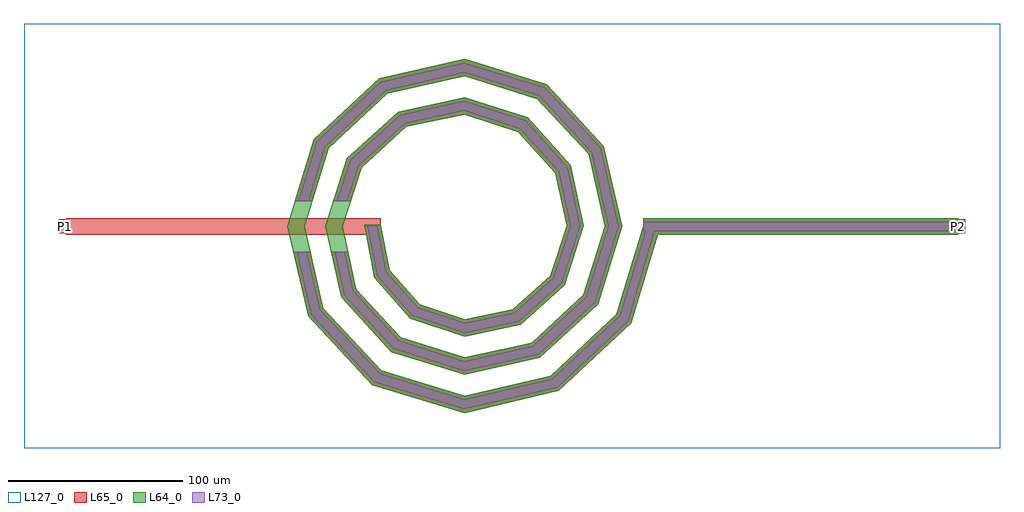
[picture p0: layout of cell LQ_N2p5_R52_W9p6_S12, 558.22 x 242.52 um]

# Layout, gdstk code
import gdstk
lib = gdstk.Library(unit=1e-6, precision=1e-09)
def R(c, l, rs):  # rectangles x0, y0, x1, y1
    for r in rs: c.add(gdstk.rectangle(r[:2], r[2:], *l))
def P(c, l, *ps):  # polygons
    for p in ps: c.add(gdstk.Polygon(p, *l))
L64_0 = (64, 0)
L65_0 = (65, 0)
L73_0 = (73, 0)
L127_0 = (127, 0)

lq_n2p5_r52_w9p6_s12 = lib.new_cell('LQ_N2p5_R52_W9p6_S12')
R(lq_n2p5_r52_w9p6_s12, L64_0, [(102.419,-4.8,282.419,4.8)])
P(lq_n2p5_r52_w9p6_s12, L64_0, [(-42.676,-24.997),(-25.379,-44.558),(0.29,-53.098),(27.703,-47.42),(49.273,-28.132),(58.559,0.266),(52.161,30.413),(30.882,53.992),(0.245,64.02),(-33.126,56.9),(-58.712,33.629),(-69.481,0.227),(-61.638,-35.842),(-36.374,-63.434),(0.211,-74.943),(38.56,-66.376),(68.156,-39.117),(80.404,0.198),(71.112,41.28),(41.859,72.88),(0.186,85.866),(-44.001,75.848),(-77.605,44.599),(-91.328,0.175),(-80.583,-46.723),(-47.338,-82.33),(0.166,-96.789),(49.446,-85.317),(87.056,-50.077),(102.624,1.39),(111.813,-1.39),(95.499,-55.321),(54.131,-94.083),(0.166,-106.723),(-52.597,-90.764),(-89.357,-51.392),(-101.261,0.175),(-86.028,49.875),(-48.652,84.632),(0.186,95.799),(47.153,81.292),(79.907,45.911),(90.336,0.198),(76.556,-44.433),(43.168,-75.183),(0.211,-84.874),(-41.713,-71.818),(-70.459,-40.424),(-79.411,0.227),(-67.079,38.996),(-37.678,65.737),(0.245,73.948),(36.281,62.338),(61.016,34.93),(68.485,0.266),(57.596,-33.569),(32.178,-56.296),(0.29,-63.022),(-30.86,-52.851),(-51.579,-29.421),(-57.304,0.946),(-47.892,0.946)])
R(lq_n2p5_r52_w9p6_s12, L65_0, [(-227.798,-4.8,-47.798,4.8), (102.419,-4.8,282.419,4.8), (-231.798,-4,-223.798,4), (278.419,-4,286.419,4)])
P(lq_n2p5_r52_w9p6_s12, L65_0, [(-80.583,-46.723),(-47.338,-82.33),(0.166,-96.789),(49.446,-85.317),(87.056,-50.077),(102.624,1.39),(111.813,-1.39),(95.499,-55.321),(54.131,-94.083),(0.166,-106.723),(-52.598,-90.764),(-89.357,-51.392),(-97.897,-14.4),(-88.044,-14.4)],
  [(-61.638,-35.842),(-36.374,-63.434),(0.211,-74.943),(38.56,-66.376),(68.156,-39.117),(80.404,0.198),(71.112,41.28),(41.859,72.88),(0.186,85.866),(-44.001,75.848),(-77.605,44.599),(-86.86,14.4),(-96.901,14.4),(-86.028,49.875),(-48.652,84.632),(0.186,95.799),(47.153,81.292),(79.907,45.911),(90.336,0.198),(76.556,-44.433),(43.168,-75.183),(0.211,-84.874),(-41.714,-71.818),(-70.459,-40.424),(-76.19,-14.4),(-66.36,-14.4)],
  [(-25.379,-44.558),(0.29,-53.098),(27.703,-47.42),(49.274,-28.132),(58.559,0.266),(52.161,30.413),(30.882,53.992),(0.245,64.02),(-33.126,56.9),(-58.712,33.629),(-64.829,14.4),(-74.903,14.4),(-67.079,38.996),(-37.678,65.737),(0.245,73.948),(36.281,62.338),(61.016,34.93),(68.485,0.266),(57.596,-33.569),(32.178,-56.297),(0.29,-63.022),(-30.86,-52.851),(-51.579,-29.421),(-57.304,0.946),(-47.892,0.946),(-42.676,-24.997)])
R(lq_n2p5_r52_w9p6_s12, L73_0, [(102.419,-2.8,282.419,2.8)])
P(lq_n2p5_r52_w9p6_s12, L73_0, [(-82.411,-47.696),(-48.434,-84.087),(0.097,-98.859),(50.422,-87.144),(88.815,-51.169),(104.538,0.811),(109.899,0.811),(93.74,-54.229),(53.155,-92.257),(0.097,-104.654),(-51.502,-89.007),(-87.529,-50.419),(-95.844,-14.4),(-90.097,-14.4)],
  [(-63.476,-36.797),(-37.486,-65.18),(0.123,-77.012),(39.52,-68.21),(69.906,-40.224),(82.473,0.115),(72.944,42.245),(42.962,74.633),(0.108,87.935),(-44.97,77.678),(-79.36,45.698),(-88.952,14.4),(-94.809,14.4),(-84.274,48.776),(-47.683,82.802),(0.108,93.729),(46.05,79.54),(78.075,44.946),(88.267,0.115),(74.806,-43.325),(42.208,-73.348),(0.123,-82.805),(-40.601,-70.071),(-68.622,-39.47),(-74.142,-14.4),(-68.408,-14.4)],
  [(-26.521,-46.285),(0.169,-55.165),(28.635,-49.269),(51.007,-29.265),(60.627,0.155),(54.006,31.354),(32.007,55.731),(0.143,66.088),(-34.075,58.741),(-60.455,34.747),(-66.927,14.4),(-72.804,14.4),(-65.336,37.878),(-36.73,63.896),(0.143,71.88),(35.156,60.6),(59.171,33.989),(66.417,0.155),(55.862,-32.436),(31.245,-54.447),(0.169,-60.954),(-29.718,-51.124),(-49.724,-28.5),(-55.343,0.552),(-49.853,0.552),(-44.531,-25.919)])
R(lq_n2p5_r52_w9p6_s12, L127_0, [(-251.798,-126.723,306.419,115.799)])
lq_n2p5_r52_w9p6_s12.add(gdstk.Label('P2', (282.419,0), layer=65, texttype=0))
lq_n2p5_r52_w9p6_s12.add(gdstk.Label('P1', (-227.798,0), layer=65, texttype=0))
lq_n2p5_r52_w9p6_s12.add(gdstk.Label('P2', (286.419,0), layer=145, texttype=0))
lq_n2p5_r52_w9p6_s12.add(gdstk.Label('P1', (-231.798,0), layer=145, texttype=0))

lib.write_gds('LQ_N2p5_R52_W9p6_S12.gds')
